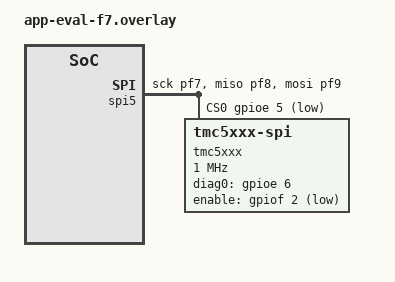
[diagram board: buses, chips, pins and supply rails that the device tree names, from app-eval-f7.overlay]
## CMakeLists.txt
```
# SPDX-License-Identifier: Apache-2.0

cmake_minimum_required(VERSION 3.20.0)

list(APPEND EXTRA_ZEPHYR_MODULES
  ${CMAKE_CURRENT_SOURCE_DIR}/../drivers ${CMAKE_CURRENT_SOURCE_DIR}/../lib
)


find_package(Zephyr REQUIRED HINTS $ENV{ZEPHYR_BASE})
project(rp-stepper)

target_sources(app PRIVATE src/main.cpp)

target_include_directories(app PRIVATE src)
```

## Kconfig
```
# /Kconfig
# this is all you need!
source "Kconfig.zephyr"

rsource "../drivers/Kconfig"
rsource "../lib/Kconfig"
```

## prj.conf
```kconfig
CONFIG_CPP=y
CONFIG_GLIBCXX_LIBCPP=y
CONFIG_GPIO=y
CONFIG_SPI=y

CONFIG_USB_DEVICE_STACK=y
CONFIG_USB_DEVICE_PRODUCT="Zephyr CDC ACM sample"
CONFIG_USB_DEVICE_VID=0x1234
CONFIG_USB_DEVICE_PID=0x0001

CONFIG_LOG=y
CONFIG_LOG_DEFAULT_LEVEL=0
CONFIG_LOG_CMDS=y

CONFIG_STDOUT_CONSOLE=y
CONFIG_SHELL=y

CONFIG_PRINTK=y
CONFIG_POSIX_API=y

CONFIG_TMC5XXX=y
CONFIG_TMC5XXX_SPI=y
CONFIG_SPI=y

CONFIG_CILO72=y
```

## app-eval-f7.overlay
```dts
#include <zephyr/dt-bindings/led/led.h>
#include <zephyr/dt-bindings/input/input-event-codes.h>


/ {
    
    aliases {
		led0 = &led_200;
		tmc5xxx0 = &tmc5xxx;
	};

};

&spi5 {
	pinctrl-0 = <&spi5_sck_pf7 &spi5_miso_pf8 &spi5_mosi_pf9>;
	pinctrl-names = "default";
	cs-gpios = <&gpioe 5 (GPIO_ACTIVE_LOW | GPIO_PULL_UP)>;
	status = "okay";
	tmc5xxx: tmc5xxx@0 {
			compatible = "tmc5xxx-spi";
			reg = <0>;
			diag0-gpios = <&gpioe 6 (GPIO_ACTIVE_HIGH | GPIO_PULL_UP)>; /* Diag0 pin */
			enable-gpios = <&gpiof 2 (GPIO_ACTIVE_LOW)>;
			spi-max-frequency = <DT_FREQ_M(1)>;
		};
};
```

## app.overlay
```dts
#include <zephyr/dt-bindings/led/led.h>
#include <zephyr/dt-bindings/input/input-event-codes.h>


/ {
    chosen {
        zephyr,shell-uart = &cdc_acm_uart0;
    };
    
    aliases {
		spi0  = &pio0_spi0;
		tmc5xxx0 = &tmc5xxx;
	};

};

&zephyr_udc0 {
    cdc_acm_uart0: cdc_acm_uart0 {
    	compatible = "zephyr,cdc-acm-uart";
        label = "CDC_ACM_0";
    };
};

&pinctrl {
	pio0_spi0_default: pio0_spi0_default {
		/* gpio 17 is used for chip select, not assigned to the PIO */
		group1 {
			pinmux = <PIO0_P18>, <PIO0_P19>;
		};
		group2 {
			pinmux = <PIO0_P16>;
			input-enable;
		};
	};
};

&pio0 {
	status = "okay";

	pio0_spi0: pio0_spi0 {
		compatible = "raspberrypi,pico-spi-pio";
		#address-cells = <1>;
		#size-cells = <0>;

		clocks = <&clocks RPI_PICO_CLKID_CLK_SYS>;
		miso-gpios = <&gpio0 16 0>;
		cs-gpios = <&gpio0 17 GPIO_ACTIVE_LOW>;
		clk-gpios = <&gpio0 18 GPIO_ACTIVE_HIGH>;
		mosi-gpios = <&gpio0 19 GPIO_ACTIVE_HIGH>;

		pinctrl-0 = <&pio0_spi0_default>;
		pinctrl-names = "default";
		status = "okay";

		tmc5xxx: tmc5xxx@0 {
			compatible = "tmc5xxx-spi";
			reg = <0>;
			diag0-gpios = <&gpio0 13 (GPIO_ACTIVE_HIGH | GPIO_PULL_UP)>; /* Diag0 pin */
			enable-gpios = <&gpio0 20 (GPIO_ACTIVE_LOW)>;
			spi-max-frequency = <DT_FREQ_M(1)>;
		};
	};
};
```

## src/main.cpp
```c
/*
 * Copyright (c) 2016 Intel Corporation
 *
 * SPDX-License-Identifier: Apache-2.0
 */

#include <stdio.h>
#include <zephyr/kernel.h>
#include <zephyr/usb/usb_device.h>
#include <zephyr/usb/usbd.h>
#include "cilo72/hw/gpio.h"
#include "cilo72/ic/tmc5160.h"
#include "cilo72/motion/tmc5160.h"
#include <tmc5xxx.h>


const struct device *tmc5xxx0 = DEVICE_DT_GET(DT_ALIAS(tmc5xxx0));

const struct gpio_dt_spec dt_led0 = GPIO_DT_SPEC_GET(DT_ALIAS(led0), gpios);

#define SLEEP_TIME_MS   500

int main(void)
{
	cilo72::hw::Gpio        led(&dt_led0, cilo72::hw::Gpio::Level::Low);
	cilo72::ic::Tmc5160     tmc(tmc5xxx0, 75);
	cilo72::motion::Tmc5160 axis(tmc, 256, 200, 256*200);
	int32_t distance = 256*200;

	usb_enable(NULL);

	axis.ic().enable(true);
	axis.power(true);
	

	while (1) 
	{
		if(axis.isPositionReached())
		{
			axis.moveRel(distance, 50000, 20000, 100, 300);
			distance *=-1;

		}
		led.toggle();
		k_msleep(SLEEP_TIME_MS);

	}
	return 0;
}
```
